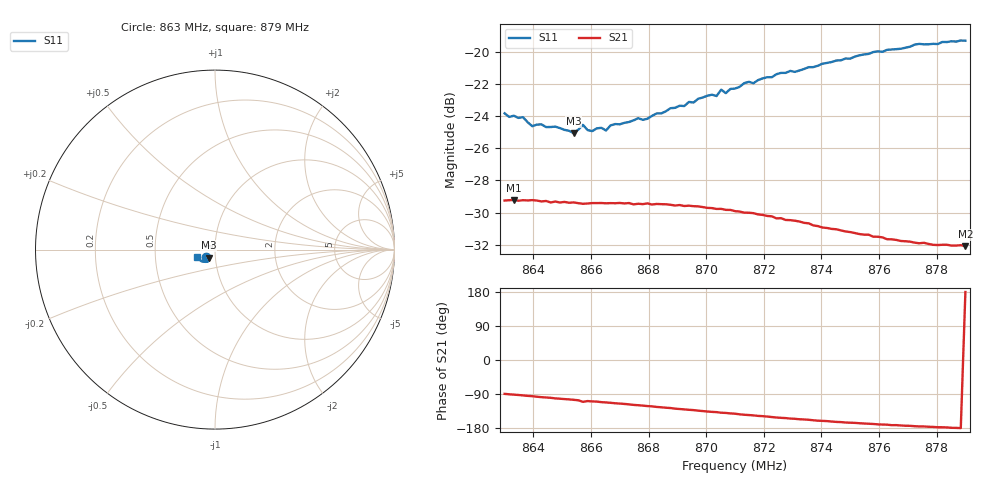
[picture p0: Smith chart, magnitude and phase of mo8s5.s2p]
# HZ S RI R 50
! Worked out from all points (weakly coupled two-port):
!   101 points, 863 MHz to 879 MHz, reference 50 ohm
!   highest |S21| = -29.22 dB at 863.32 MHz (marker M1); lowest = -32.1 dB at 879 MHz (marker M2)
!   lowest |S11| = -25.1 dB at 865.4 MHz (marker M3), VSWR 1.12, Z = 46.5 - j4.11 ohm
!   |S11| at or under -10 dB: start of sweep to end of sweep
!   S12 and S22 are empty: the file has one direction only
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8.63e8  -0.0483 -0.0425  0.000401 -0.0345  0 0  0 0
8.6316e8  -0.0466 -0.042  -0.000299 -0.0345  0 0  0 0
8.6332e8  -0.0463 -0.043  -0.000847 -0.0346  0 0  0 0
8.6364e8  -0.0455 -0.043  -0.00213 -0.0345  0 0  0 0
8.6396e8  -0.0418 -0.0411  -0.00338 -0.0344  0 0  0 0
8.6476e8  -0.039 -0.0436  -0.0067 -0.0336  0 0  0 0
8.654e8  -0.0343 -0.0441  -0.00887 -0.0328  0 0  0 0
8.6572e8  -0.0362 -0.0469  -0.0117 -0.0316  0 0  0 0
8.6588e8  -0.0342 -0.0457  -0.0106 -0.032  0 0  0 0
8.6636e8  -0.0338 -0.0471  -0.0123 -0.0316  0 0  0 0
8.6652e8  -0.0314 -0.0474  -0.0126 -0.0313  0 0  0 0
8.6668e8  -0.0332 -0.0488  -0.0132 -0.0311  0 0  0 0
8.6844e8  -0.032 -0.0558  -0.0192 -0.0276  0 0  0 0
8.7004e8  -0.0371 -0.0628  -0.0235 -0.0228  0 0  0 0
8.7036e8  -0.0374 -0.0625  -0.0239 -0.0219  0 0  0 0
8.7052e8  -0.039 -0.0655  -0.0246 -0.0213  0 0  0 0
8.7068e8  -0.0389 -0.0633  -0.0246 -0.0209  0 0  0 0
8.71e8  -0.0411 -0.0649  -0.0251 -0.0198  0 0  0 0
8.726e8  -0.0517 -0.0686  -0.027 -0.014  0 0  0 0
8.7372e8  -0.0587 -0.0677  -0.0269 -0.0103  0 0  0 0
8.7644e8  -0.0823 -0.0596  -0.0259 -0.00364  0 0  0 0
8.79e8  -0.1003 -0.0406  -0.0249 0.000251  0 0  0 0
